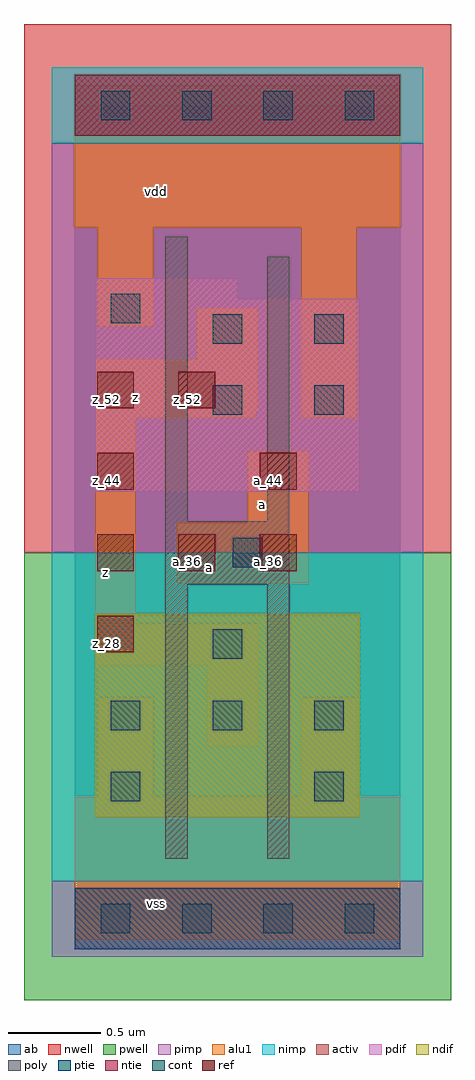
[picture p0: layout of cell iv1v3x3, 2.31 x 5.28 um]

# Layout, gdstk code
import gdstk
lib = gdstk.Library(unit=1e-6, precision=2.5e-09)
def R(c, l, rs):  # rectangles x0, y0, x1, y1
    for r in rs: c.add(gdstk.rectangle(r[:2], r[2:], *l))
def A(c, l, x, y, w, h, nx, ny, dx, dy):  # array of equal rectangles
    R(c, l, [(x+i*dx, y+j*dy, x+i*dx+w, y+j*dy+h) for i in range(nx) for j in range(ny)])
ndif = (3, 0)
pdif = (4, 0)
ntie = (5, 0)
ptie = (6, 0)
ref = (24, 0)
cont = (25, 0)
pwell = (41, 0)
nwell = (42, 0)
activ = (43, 0)
pimp = (44, 0)
nimp = (45, 0)
poly = (46, 0)
alu1 = (49, 0)
ab = (63, 0)

iv1v3x3 = lib.new_cell('iv1v3x3')
R(iv1v3x3, ndif, [(0.11,0.55,1.54,1.65)])
R(iv1v3x3, pdif, [(0.11,2.31,1.54,3.355), (0.11,3.355,0.88,3.465)])
R(iv1v3x3, ntie, [(0,4.235,1.76,4.565)])
R(iv1v3x3, ptie, [(0,-0.165,1.76,0.165)])
A(iv1v3x3, ref, 0.12, 1.88, 0.2, 0.2, 3, 1, 0.44, 0)
R(iv1v3x3, ref, [(0.12,1.44,0.32,1.64), (0.12,2.32,0.32,2.52), (1,2.32,1.2,2.52), (0.12,2.76,0.32,2.96), (0.56,2.76,0.76,2.96)])
A(iv1v3x3, cont, 0.14, -0.08, 0.16, 0.16, 4, 2, 0.44, 4.4)
A(iv1v3x3, cont, 0.195, 1.02, 0.16, 0.16, 3, 1, 0.55, 0)
R(iv1v3x3, cont, [(0.195,0.635,0.355,0.795), (1.295,0.635,1.455,0.795), (0.745,1.405,0.905,1.565), (0.855,1.9,1.015,2.06), (0.745,2.725,0.905,2.885), (1.295,2.725,1.455,2.885), (0.745,3.11,0.905,3.27), (1.295,3.11,1.455,3.27), (0.195,3.22,0.355,3.38)])
R(iv1v3x3, pwell, [(-0.275,-0.44,2.035,1.98)])
R(iv1v3x3, nwell, [(-0.275,1.98,2.035,4.84)])
R(iv1v3x3, activ, [(0,-0.165,1.76,0.165), (0.11,0.55,1.54,1.65), (0.11,2.31,1.54,3.355), (0.11,3.355,0.88,3.465), (0,4.235,1.76,4.565)])
R(iv1v3x3, pimp, [(-0.125,-0.205,1.885,0.205), (-0.125,1.98,1.885,4.195)])
R(iv1v3x3, nimp, [(-0.125,0.205,1.885,1.98), (-0.125,4.195,1.885,4.605)])
R(iv1v3x3, poly, [(0.49,0.325,0.61,1.81), (1.04,0.325,1.16,1.81), (0.49,1.81,1.16,2.15), (0.49,2.15,0.61,3.69), (1.04,2.15,1.16,3.58)])
R(iv1v3x3, alu1, [(0,-0.11,1.76,0.66), (0.125,0.66,0.425,1.195), (1.225,0.66,1.525,1.195), (0.715,0.935,0.99,1.375), (0.11,1.375,0.99,1.595), (0.11,1.595,0.33,2.71), (0.55,1.815,1.265,2.145), (0.935,2.145,1.265,2.53), (0.11,2.71,0.975,2.75), (1.225,2.71,1.525,3.74), (0.11,2.75,0.99,3.025), (0.66,3.025,0.99,3.3), (0.125,3.205,0.425,3.74), (0,3.74,1.76,4.51)])
R(iv1v3x3, ab, [(0,0,1.76,4.4)])
iv1v3x3.add(gdstk.Label('vss', (0.44,0.0825), layer=49, texttype=0))
iv1v3x3.add(gdstk.Label('a', (0.7275,1.8975), layer=49, texttype=0))
iv1v3x3.add(gdstk.Label('a', (1.0175,2.24), layer=49, texttype=0))
iv1v3x3.add(gdstk.Label('z', (0.165,1.8725), layer=49, texttype=0))
iv1v3x3.add(gdstk.Label('z', (0.33,2.8175), layer=49, texttype=0))
iv1v3x3.add(gdstk.Label('vdd', (0.44,3.9325), layer=49, texttype=0))
iv1v3x3.add(gdstk.Label('z_52', (0.17,2.81), layer=24, texttype=0))
iv1v3x3.add(gdstk.Label('z_44', (0.17,2.37), layer=24, texttype=0))
iv1v3x3.add(gdstk.Label('z_36', (0.17,1.93), layer=24, texttype=0))
iv1v3x3.add(gdstk.Label('z_28', (0.17,1.49), layer=24, texttype=0))
iv1v3x3.add(gdstk.Label('a_44', (1.05,2.37), layer=24, texttype=0))
iv1v3x3.add(gdstk.Label('a_36', (1.05,1.93), layer=24, texttype=0))
iv1v3x3.add(gdstk.Label('z_52', (0.61,2.81), layer=24, texttype=0))
iv1v3x3.add(gdstk.Label('a_36', (0.61,1.93), layer=24, texttype=0))

lib.write_gds('iv1v3x3.gds')
